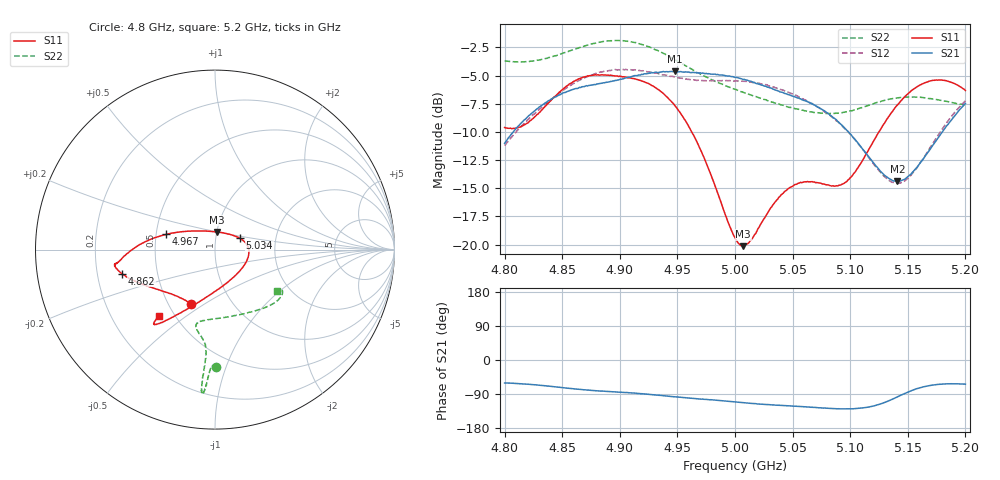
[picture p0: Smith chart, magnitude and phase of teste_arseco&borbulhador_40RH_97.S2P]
! Network Analyzer HP8722D
! Hewlett-Packard
! Data name: Linha & Wilkinson
! Saver's name: Rodrigo Anjos
! Comments: Teste da utilização de aquisição
! continua pelo VNA HP8722D
! Time and date: 15/4/2025 17:09
!  Frequency  S11  S21  S12  S22
# HZ  S  MA R 50
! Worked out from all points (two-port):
!   401 points, 4.8 GHz to 5.2 GHz, reference 50 ohm
!   highest |S21| = -4.62 dB at 4.948 GHz (marker M1); lowest = -14.4 dB at 5.141 GHz (marker M2)
!   |S21| within 3 dB of the highest: 4.833 GHz to 5.069 GHz (236.4 MHz wide, 4.78 % of centre); 5.198666 GHz to end of sweep
!   lowest |S11| = -20.1 dB at 5.007 GHz (marker M3), VSWR 1.22, Z = 50.1 + j9.89 ohm
!   |S11| at or under -10 dB: 4.962 GHz to 5.125 GHz (162.6 MHz wide, 3.22 % of centre)
!   |S22| runs from -8.4 to -1.9 dB; largest |S21 - S12| = 0.88
!   S11 on the Smith chart (normalised r, x): 4.8 GHz: 0.65, -0.44; 4.862 GHz: 0.31, -0.11; 4.967 GHz: 0.56, +0.10; 5.034 GHz: 1.31, +0.17; 5.2 GHz: 0.41, -0.40
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4.8e9  0.3306 -113.6  0.2814 -60.7  0.2751 -175.0  0.6534 -89.5
4.819e9  0.3443 -133.4  0.3645 -63.7  0.3522 -173.2  0.6483 -91.1
4.862e9  0.5359 -165.6  0.4927 -76.7  0.5258 -176.3  0.7396 -93.4
4.867e9  0.5494 -167.4  0.5011 -78.1  0.5416 -177.4  0.754 -93.7
4.901e9  0.5578 -171.9  0.541 -85.0  0.5978 175.7  0.8025 -95.1
4.934e9  0.4849 -177.9  0.5806 -93.2  0.5717 172.0  0.7196 -95.5
4.948e9  0.4124 175.5  0.5875 -97.2  0.5532 172.1  0.66 -95.1
4.967e9  0.2853 162.7  0.5777 -102.1  0.5346 174.1  0.579 -95.1
5e9  0.1071 107.4  0.5519 -110.9  0.5328 176.5  0.4882 -99.2
5.007e9  0.09837 83.8  0.5401 -112.6  0.5303 176.5  0.4738 -100.9
5.016e9  0.1085 56.3  0.525 -114.8  0.5232 176.1  0.4563 -102.9
5.034e9  0.1526 24.4  0.4877 -118.8  0.4998 175.3  0.4252 -103.9
5.05e9  0.1815 7.3  0.4562 -121.4  0.465 174.6  0.4041 -100.2
5.067e9  0.1902 -11.1  0.4207 -124.7  0.4225 174.2  0.3877 -91.9
5.087e9  0.1818 -43.5  0.3607 -128.5  0.358 173.7  0.3823 -77.0
5.097e9  0.1904 -64.7  0.3216 -129.1  0.3206 174.4  0.3886 -68.6
5.134e9  0.3734 -115.9  0.1959 -106.9  0.192 -159.7  0.4416 -43.3
5.141e9  0.4164 -119.9  0.1909 -97.2  0.1872 -148.9  0.4477 -40.2
5.152e9  0.4756 -124.4  0.2038 -82.3  0.2011 -131.5  0.4516 -36.3
5.17e9  0.5327 -128.5  0.2672 -66.9  0.2727 -113.0  0.4441 -32.0
5.184e9  0.5321 -129.8  0.3378 -62.9  0.3489 -107.2  0.4317 -31.1
5.2e9  0.4828 -130.2  0.4227 -64.0  0.4344 -106.0  0.416 -33.3
